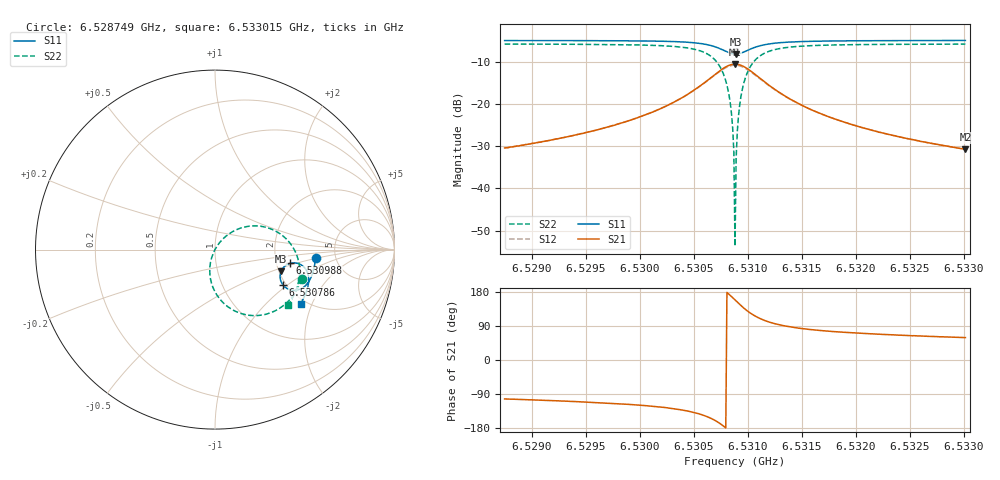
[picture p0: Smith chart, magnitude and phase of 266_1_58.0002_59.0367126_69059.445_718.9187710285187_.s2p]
#  HZ  S  RI  R  50.00
! Rohde & Schwarz Vector Network Analyzer
! Rohde-Schwarz,ZNB20-2Port,1311601062101988,3.16
! Created: UTC 3/21/2024, 1:02:10 AM
! freq[Hz]  re:S11  im:S11  re:S21  im:S21  re:S12  im:S12  re:S22  im:S22
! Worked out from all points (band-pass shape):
!   401 points, 6.528749 GHz to 6.533015 GHz, reference 50 ohm
!   highest |S21| = -10.57 dB at 6.530882 GHz (marker M1); lowest = -30.8 dB at 6.533015 GHz (marker M2)
!   |S21| within 3 dB of the highest: 6.530669 GHz to 6.531095 GHz (426.3 kHz wide, 0.00653 % of centre)
!   lowest |S11| = -8.2 dB at 6.530892 GHz (marker M3), VSWR 2.27, Z = 103 - j29.2 ohm
!   |S11| at or under -10 dB: nowhere
!   |S22| runs from -53.7 to -5.8 dB; largest |S21 - S12| = 0.012
!   S11 on the Smith chart (normalised r, x): 6.528749 GHz: 3.50, -0.47; 6.530786 GHz: 1.92, -0.92; 6.530988 GHz: 2.38, -0.44; 6.533015 GHz: 1.87, -1.65
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6.5287486e9  0.5601 -0.0462  -0.00663 -0.0294  -0.00721 -0.0292  0.4841 -0.1631
6.5294632e9  0.5509 -0.1054  -0.0155 -0.0418  -0.0165 -0.0415  0.4538 -0.2275
6.5301778e9  0.5242 -0.1757  -0.0481 -0.0718  -0.0501 -0.0705  0.3746 -0.3169
6.5306044e9  0.4557 -0.2262  -0.1522 -0.0973  -0.1545 -0.0912  0.1747 -0.3635
6.5307111e9  0.4122 -0.2219  -0.2194 -0.072  -0.219 -0.0628  0.0611 -0.3101
6.5307857e9  0.3779 -0.1959  -0.2692 -0.0156  -0.2639 -0.0059  -0.0131 -0.2066
6.5308177e9  0.3673 -0.1766  -0.2826 0.0218  -0.2748 0.0303  -0.0281 -0.1424
6.5308391e9  0.3635 -0.1613  -0.2858 0.05  -0.2767 0.0572  -0.0285 -0.0955
6.5308497e9  0.3628 -0.1533  -0.2854 0.0646  -0.2759 0.071  -0.0252 -0.0716
6.5308604e9  0.3628 -0.1453  -0.2836 0.0794  -0.2736 0.085  -0.0194 -0.0478
6.5308817e9  0.3657 -0.129  -0.2754 0.1085  -0.265 0.1121  -0.000985 -0.00182
6.5308924e9  0.3684 -0.121  -0.2694 0.1222  -0.2589 0.1249  0.0116 0.0196
6.5309031e9  0.372 -0.1136  -0.2617 0.1352  -0.2516 0.1371  0.0261 0.0395
6.5309137e9  0.3763 -0.1066  -0.2532 0.1473  -0.243 0.1483  0.0423 0.0576
6.5309244e9  0.3811 -0.1003  -0.2435 0.1586  -0.2337 0.1587  0.0603 0.0741
6.5309457e9  0.3928 -0.0894  -0.2218 0.1771  -0.2129 0.1759  0.099 0.1007
6.5309884e9  0.4186 -0.0765  -0.1747 0.1997  -0.1682 0.1969  0.1805 0.129
6.5310631e9  0.4602 -0.0765  -0.102 0.2018  -0.0984 0.1989  0.3022 0.1184
6.5311697e9  0.4966 -0.0981  -0.0394 0.1721  -0.0376 0.1705  0.4031 0.0532
6.5315963e9  0.5223 -0.1769  0.0149 0.0831  0.0159 0.0829  0.4717 -0.1333
6.5323109e9  0.5034 -0.249  0.0171 0.04  0.0179 0.0398  0.4427 -0.2475
6.5330149e9  0.4767 -0.3014  0.0148 0.0248  0.0155 0.0247  0.4074 -0.3074
